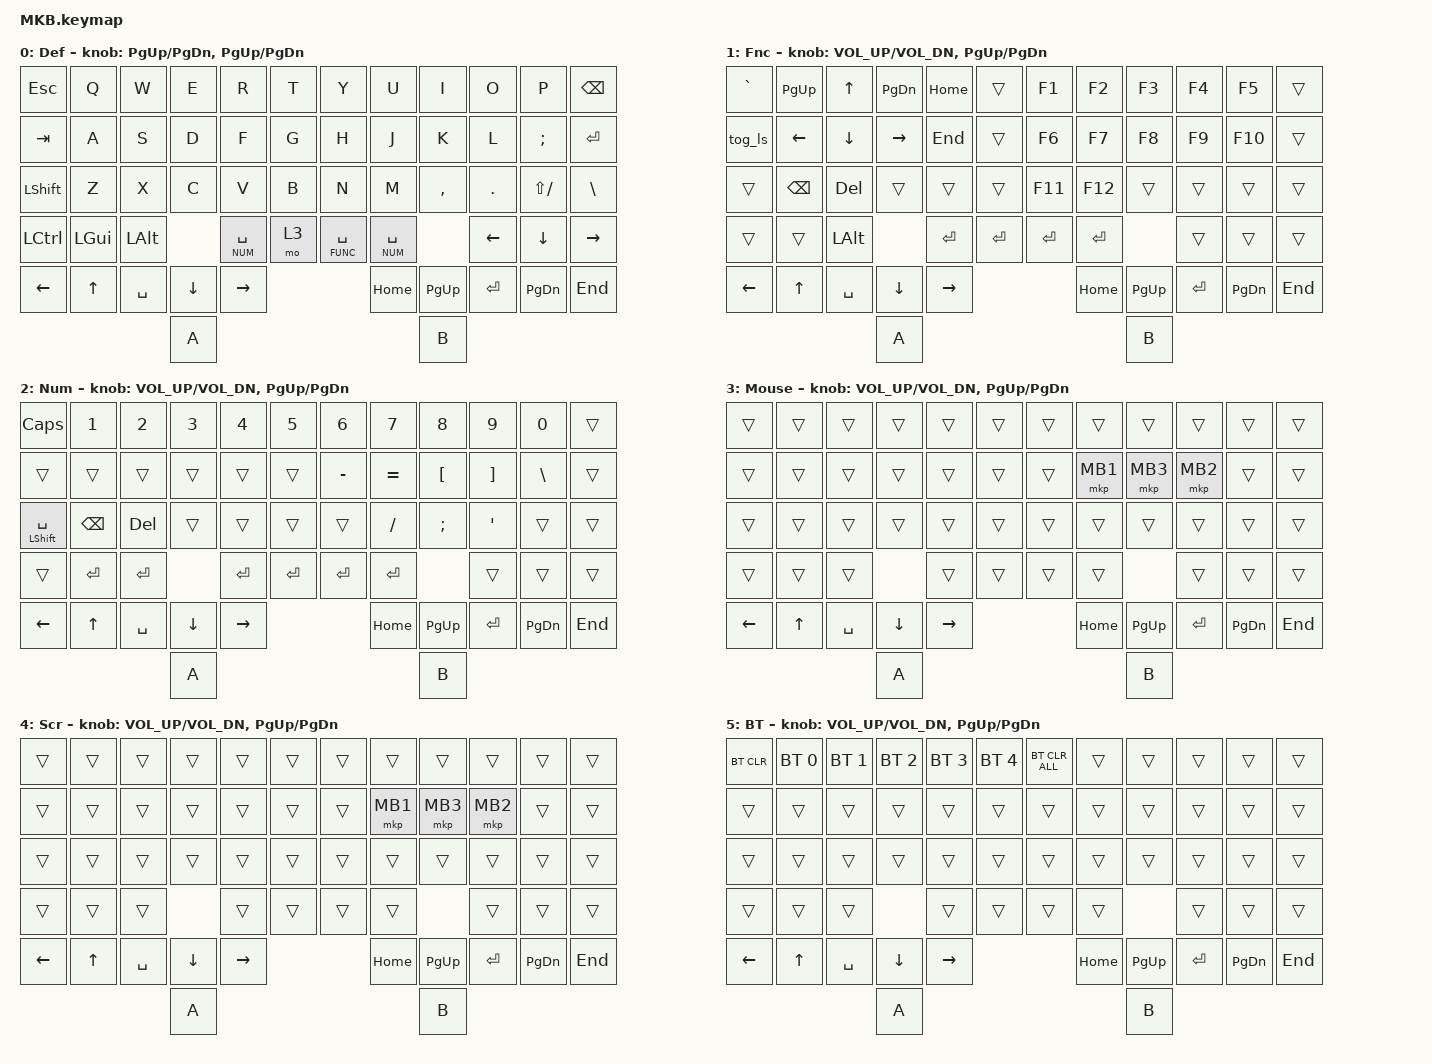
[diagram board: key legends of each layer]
// #include <layout_shift.dtsi>

#include <layout_shift_kp_override.dtsi>
#include <behaviors.dtsi>
#include <dt-bindings/zmk/bt.h>
#include <dt-bindings/zmk/keys.h>
#include <dt-bindings/zmk/pointing.h>

#define JP_AT     LBKT     // ＠ (US配列の [ の位置)
#define JP_COLN   SEMI     // ： (US配列の ; の位置)
#define JP_CARET  EQUAL    // ＾ (US配列の = の位置)
#define JP_YEN    INT1     // ￥ / ＼
#define JP_DQUOTE AT       // " (JIS配列でShift+2)
#define JP_AMP    CARET    // & (JIS配列でShift+6)
#define JP_QUOTE  AMPERSAND // ' (JIS配列でShift+7)
#define JP_LPAR   ASTERISK  // ( (JIS配列でShift+8)
#define JP_RPAR   LPAR     // ) (JIS配列でShift+9)

#define DEF 0
#define FUNC 1
#define NUM 2
#define MOUSE 3
#define SCROLL 4
#define BT 5

&mt {
    flavor = "balanced";
    tapping-term-ms = <280>;
    quick-tap-ms = <175>;
    require-prior-idle-ms = <150>;
};

/ {
    keymap {
        compatible = "zmk,keymap";

        default_layer {
            label = "Def";
            bindings = <
&kp ESC           &kp Q     &kp W      &kp E     &kp R          &kp T      &kp Y           &kp U          &kp I      &kp O      &kp P         &kp BACKSPACE
&kp TAB           &kp A     &kp S      &kp D     &kp F          &kp G      &kp H           &kp J          &kp K      &kp L      &kp SEMI      &kp ENTER
&kp LSHFT         &kp Z     &kp X      &kp C     &kp V          &kp B      &kp N           &kp M          &kp COMMA  &kp DOT    &kp LS(FSLH)  &kp BACKSLASH
&kp LEFT_CONTROL  &kp LGUI  &kp LALT             &lt NUM SPACE  &mo 3      &lt FUNC SPACE  &lt NUM SPACE             &kp LEFT   &kp DOWN      &kp RIGHT
&kp LEFT          &kp UP    &kp SPACE  &kp DOWN  &kp RIGHT                                 &kp HOME       &kp PG_UP  &kp ENTER  &kp PG_DN     &kp END
                                       &kp A                                                              &kp B
            >;

            sensor-bindings =
                <&inc_dec_kp PAGE_UP PAGE_DOWN>,
                <&inc_dec_kp PG_UP PG_DN>;
        };

        function_layer {
            label = "Fnc";
            bindings = <
&kp GRAVE  &kp PG_UP  &kp UP     &kp PG_DN  &kp HOME   &trans         &kp F1     &kp F2     &kp F3     &kp F4     &kp F5     &trans
&tog_ls    &kp LEFT   &kp DOWN   &kp RIGHT  &kp END    &trans         &kp F6     &kp F7     &kp F8     &kp F9     &kp F10    &trans
&trans     &kp BKSP   &kp DEL    &trans     &trans     &trans         &kp F11    &kp F12    &trans     &trans     &trans     &trans
&trans     &trans     &kp LALT              &kp ENTER  &kp ENTER      &kp ENTER  &kp ENTER             &trans     &trans     &trans
&kp LEFT   &kp UP     &kp SPACE  &kp DOWN   &kp RIGHT                            &kp HOME   &kp PG_UP  &kp ENTER  &kp PG_DN  &kp END
                                 &kp A                                                      &kp B
            >;

            sensor-bindings = <&inc_dec_kp C_VOL_UP C_VOL_DN &inc_dec_kp PG_UP PG_DN>;
        };

        num_layer {
            label = "Num";
            bindings = <
&kp CAPS         &kp N1         &kp N2     &kp N3    &kp N4     &kp N5         &kp N6     &kp N7     &kp N8     &kp N9     &kp N0     &trans
&trans           &trans         &trans     &trans    &trans     &trans         &kp MINUS  &kp EQUAL  &kp LBKT   &kp RBKT   &kp BSLH   &trans
&mt LSHFT SPACE  &kp BACKSPACE  &kp DEL    &trans    &trans     &trans         &trans     &kp FSLH   &kp SEMI   &kp SQT    &trans     &trans
&trans           &kp ENTER      &kp ENTER            &kp ENTER  &kp ENTER      &kp ENTER  &kp ENTER             &trans     &trans     &trans
&kp LEFT         &kp UP         &kp SPACE  &kp DOWN  &kp RIGHT                            &kp HOME   &kp PG_UP  &kp ENTER  &kp PG_DN  &kp END
                                           &kp A                                                     &kp B
            >;

            sensor-bindings = <&inc_dec_kp C_VOL_UP C_VOL_DN &inc_dec_kp PG_UP PG_DN>;
        };

        mouse_layer {
            label = "Mouse";
            bindings = <
&trans    &trans  &trans     &trans    &trans     &trans      &trans  &trans    &trans     &trans     &trans     &trans
&trans    &trans  &trans     &trans    &trans     &trans      &trans  &mkp MB1  &mkp MB3   &mkp MB2   &trans     &trans
&trans    &trans  &trans     &trans    &trans     &trans      &trans  &trans    &trans     &trans     &trans     &trans
&trans    &trans  &trans               &trans     &trans      &trans  &trans               &trans     &trans     &trans
&kp LEFT  &kp UP  &kp SPACE  &kp DOWN  &kp RIGHT                      &kp HOME  &kp PG_UP  &kp ENTER  &kp PG_DN  &kp END
                             &kp A                                              &kp B
            >;

            sensor-bindings = <&inc_dec_kp C_VOL_UP C_VOL_DN &inc_dec_kp PG_UP PG_DN>;
        };

        scroll_layer {
            label = "Scr";
            bindings = <
&trans    &trans  &trans     &trans    &trans     &trans      &trans  &trans    &trans     &trans     &trans     &trans
&trans    &trans  &trans     &trans    &trans     &trans      &trans  &mkp MB1  &mkp MB3   &mkp MB2   &trans     &trans
&trans    &trans  &trans     &trans    &trans     &trans      &trans  &trans    &trans     &trans     &trans     &trans
&trans    &trans  &trans               &trans     &trans      &trans  &trans               &trans     &trans     &trans
&kp LEFT  &kp UP  &kp SPACE  &kp DOWN  &kp RIGHT                      &kp HOME  &kp PG_UP  &kp ENTER  &kp PG_DN  &kp END
                             &kp A                                              &kp B
            >;

            sensor-bindings = <&inc_dec_kp C_VOL_UP C_VOL_DN &inc_dec_kp PG_UP PG_DN>;
        };

        bt_layer {
            label = "BT";
            bindings = <
&bt BT_CLR  &bt BT_SEL 0  &bt BT_SEL 1  &bt BT_SEL 2  &bt BT_SEL 3  &bt BT_SEL 4      &bt BT_CLR_ALL  &trans    &trans     &trans     &trans     &trans
&trans      &trans        &trans        &trans        &trans        &trans            &trans          &trans    &trans     &trans     &trans     &trans
&trans      &trans        &trans        &trans        &trans        &trans            &trans          &trans    &trans     &trans     &trans     &trans
&trans      &trans        &trans                      &trans        &trans            &trans          &trans               &trans     &trans     &trans
&kp LEFT    &kp UP        &kp SPACE     &kp DOWN      &kp RIGHT                                       &kp HOME  &kp PG_UP  &kp ENTER  &kp PG_DN  &kp END
                                        &kp A                                                                   &kp B
            >;

            sensor-bindings = <&inc_dec_kp C_VOL_UP C_VOL_DN &inc_dec_kp PG_UP PG_DN>;
        };
    };
};
